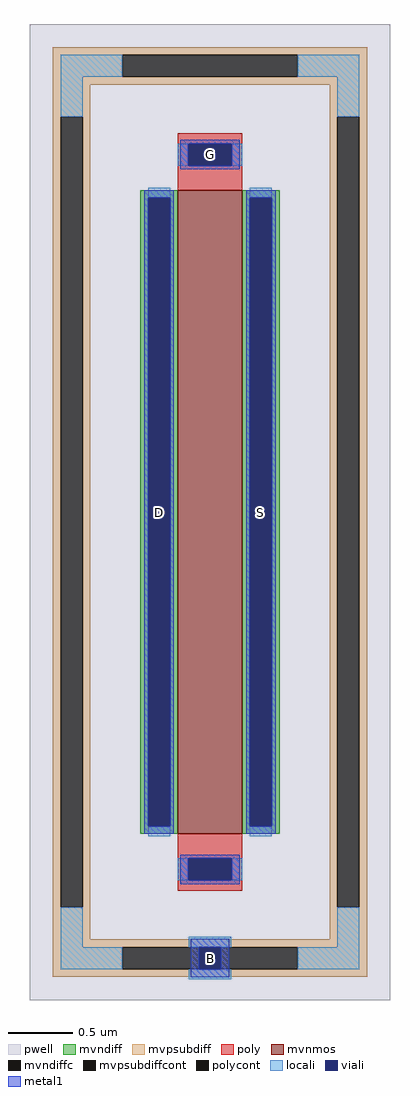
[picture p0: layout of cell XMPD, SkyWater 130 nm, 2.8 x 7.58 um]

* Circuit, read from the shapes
.subckt XMPD B D S G
XM1 S G D B sky130_fd_pr__nfet_g5v0d10v5 w=5 l=0.5
.ends

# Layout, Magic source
magic
tech sky130A
magscale 1 2
<< pwell >>
rect -280 -758 280 758
<< mvnmos >>
rect -50 -500 50 500
<< mvndiff >>
rect -108 488 -50 500
rect -108 -488 -96 488
rect -62 -488 -50 488
rect -108 -500 -50 -488
rect 50 488 108 500
rect 50 -488 62 488
rect 96 -488 108 488
rect 50 -500 108 -488
<< mvndiffc >>
rect -96 -488 -62 488
rect 62 -488 96 488
<< mvpsubdiff >>
rect -244 710 244 722
rect -244 676 -136 710
rect 136 676 244 710
rect -244 664 244 676
rect -244 614 -186 664
rect -244 -614 -232 614
rect -198 -614 -186 614
rect 186 614 244 664
rect -244 -664 -186 -614
rect 186 -614 198 614
rect 232 -614 244 614
rect 186 -664 244 -614
rect -244 -676 244 -664
rect -244 -710 -136 -676
rect 136 -710 244 -676
rect -244 -722 244 -710
<< mvpsubdiffcont >>
rect -136 676 136 710
rect -232 -614 -198 614
rect 198 -614 232 614
rect -136 -710 136 -676
<< poly >>
rect -50 572 50 588
rect -50 538 -34 572
rect 34 538 50 572
rect -50 500 50 538
rect -50 -538 50 -500
rect -50 -572 -34 -538
rect 34 -572 50 -538
rect -50 -588 50 -572
<< polycont >>
rect -34 538 34 572
rect -34 -572 34 -538
<< locali >>
rect -232 676 -136 710
rect 136 676 232 710
rect -232 614 -198 676
rect 198 614 232 676
rect -50 538 -34 572
rect 34 538 50 572
rect -96 488 -62 504
rect -96 -504 -62 -488
rect 62 488 96 504
rect 62 -504 96 -488
rect -50 -572 -34 -538
rect 34 -572 50 -538
rect -232 -676 -198 -614
rect -33 -676 33 -660
rect 198 -676 232 -614
rect -232 -710 -136 -676
rect 136 -710 232 -676
rect -33 -726 33 -710
<< viali >>
rect -34 538 34 572
rect -96 -488 -62 488
rect 62 -488 96 488
rect -34 -572 34 -538
rect -17 -710 17 -676
<< metal1 >>
rect -46 572 46 578
rect -46 538 -34 572
rect 34 538 46 572
rect -46 532 46 538
rect -102 488 -56 500
rect -102 -488 -96 488
rect -62 -488 -56 488
rect -102 -500 -56 -488
rect 56 488 102 500
rect 56 -488 62 488
rect 96 -488 102 488
rect 56 -500 102 -488
rect -46 -538 46 -532
rect -46 -572 -34 -538
rect 34 -572 46 -538
rect -46 -578 46 -572
rect -30 -676 30 -663
rect -30 -710 -17 -676
rect 17 -710 30 -676
rect -30 -723 30 -710
<< labels >>
rlabel mvpsubdiffcont 0 -693 0 -693 0 B
port 4 nsew
rlabel mvndiffc -79 0 -79 0 0 D
port 5 nsew
rlabel mvndiffc 79 0 79 0 0 S
port 6 nsew
rlabel polycont 0 555 0 555 0 G
port 7 nsew
<< properties >>
string FIXED_BBOX -215 -693 215 693
<< end >>
